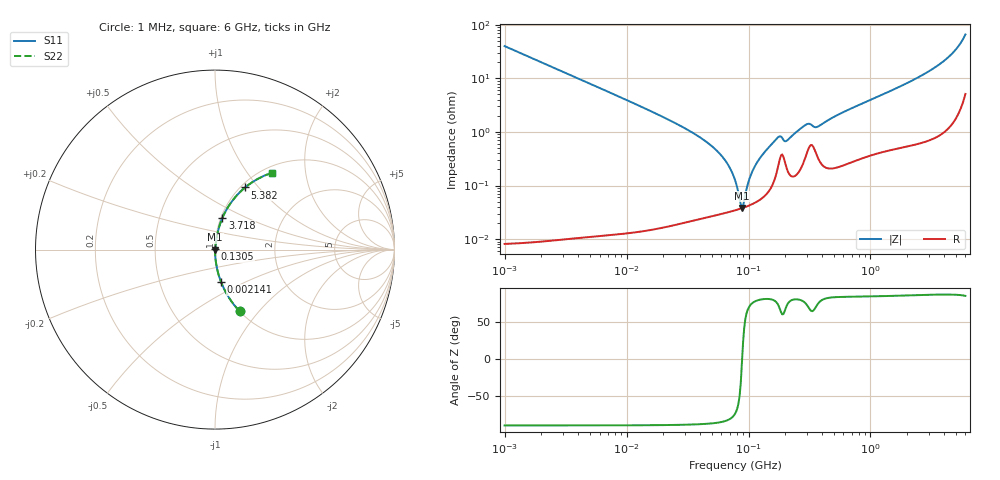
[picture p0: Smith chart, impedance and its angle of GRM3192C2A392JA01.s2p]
!Murata Part Number: GRM3192C2A392JA01
!These Parameters are Measured in Series Mode Connection
!Data Generated on Mar 30, 2021
!  o--ll--o
!Port1  Port2
!  o------o
!Operation Temp=25[degC], DC Bias Voltage=0[V]
!Freq. Start=1000[kHz] Stop=6[GHz] 401[Steps]
# Hz S RI R 50
!Freq.(Hz) S11(Real) S11(Imag) S21(Real) S21(Imag) S12(Real) S12(Imag) S22(Real) S22(Imag)
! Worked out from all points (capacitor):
!   401 points, 1 MHz to 6 GHz, reference 50 ohm
!   read as one part in series: C = 3.98 nF near 1.044 MHz
!   lowest |Z| = 38 mohm at 88.26 MHz (marker M1)
!   series resonance near 88.65 MHz, so ESL is about 810 pH
!   S11 on the Smith chart (normalised r, x): 1 MHz: 1.00, -0.80; 2.141 MHz: 1.00, -0.37; 130.5 MHz: 1.00, +0.01; 3.718 GHz: 1.02, +0.37; 5.382 GHz: 1.05, +0.85; 6 GHz: 1.10, +1.31
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1000000  0.1377 -0.3445  0.8623 0.3445  0.8623 0.3445  0.1377 -0.3445
2140860  0.0337 -0.1802  0.9663 0.1802  0.9663 0.1802  0.0337 -0.1802
4293785  0.00864 -0.092  0.9914 0.092  0.9914 0.092  0.00864 -0.092
1.843659e7  0.000586 -0.0207  0.9994 0.0207  0.9994 0.0207  0.000586 -0.0207
5.013812e7  0.000296 -0.0054  0.9997 0.0054  0.9997 0.0054  0.000296 -0.0054
6.508975e7  0.000317 -0.00282  0.9997 0.00282  0.9997 0.00282  0.000317 -0.00282
7.745967e7  0.000346 -0.00122  0.9997 0.00122  0.9997 0.00122  0.000346 -0.00122
8.450008e7  0.000366 -0.000434  0.9996 0.000434  0.9996 0.000434  0.000366 -0.000434
8.825674e7  0.000378 -3.98e-05  0.9996 3.98e-05  0.9996 3.98e-05  0.000378 -3.98e-05
9.218041e7  0.000391 0.000356  0.9996 -0.000356  0.9996 -0.000356  0.000391 0.000356
1.005588e8  0.000423 0.00116  0.9996 -0.00116  0.9996 -0.00116  0.000423 0.00116
1.073387e8  0.000454 0.00177  0.9995 -0.00177  0.9995 -0.00177  0.000454 0.00177
1.305463e8  0.000605 0.00374  0.9994 -0.00374  0.9994 -0.00374  0.000605 0.00374
1.770109e8  0.00262 0.00769  0.9974 -0.00769  0.9974 -0.00769  0.00262 0.00769
2.061188e8  0.00209 0.00652  0.9979 -0.00652  0.9979 -0.00652  0.00209 0.00652
2.919064e8  0.00345 0.0129  0.9966 -0.0129  0.9966 -0.0129  0.00345 0.0129
3.325952e8  0.00574 0.0118  0.9943 -0.0118  0.9943 -0.0118  0.00574 0.0118
3.708027e8  0.00341 0.0121  0.9966 -0.0121  0.9966 -0.0121  0.00341 0.0121
1.428092e9  0.00767 0.0561  0.9923 -0.0561  0.9923 -0.0561  0.00767 0.0561
3.718373e9  0.0412 0.1767  0.9588 -0.1767  0.9588 -0.1767  0.0412 0.1767
5.38176e9  0.1682 0.3464  0.8318 -0.3464  0.8318 -0.3464  0.1682 0.3464
6e9  0.3155 0.4274  0.6845 -0.4274  0.6845 -0.4274  0.3155 0.4274
